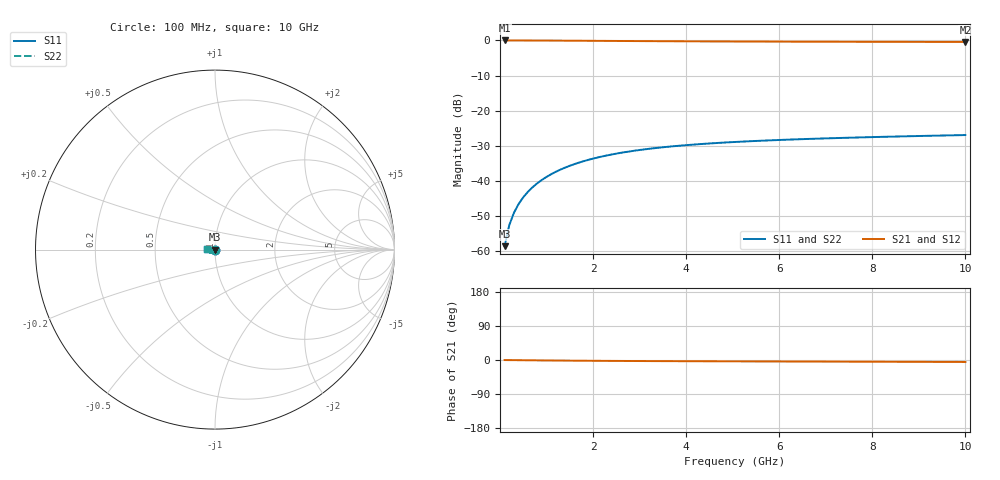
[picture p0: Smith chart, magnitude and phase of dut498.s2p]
! Touchstone file exported from HFSS 2024.1.0
!  File:  C:/UserFiles/LocalFiles/RDL_TSV_Batchsim/temp_TSV1_498_1779701155.aedt
!  Generated:  05:31:42 PM May 25, 2026
!  Design:  TSV1
!  Project:  temp_TSV1_498_1779701155
!  Setup:  Setup1
!  Solution:  Sweep
! Variables:
!  dtsv = 9.8um
!  hbump = 3um
!  htsv = 80.74um
!  lrdl = 252.1521522um
!  p = 40
!  p1 = 51.01um
!  t = 500um
!  trdl = 3um
!  wrdl = 24.89489489um
# GHz S MA R 50.000000
! Terminal data exported
! Port[1] = TSV22_T1
! Port[2] = TSV22_T2
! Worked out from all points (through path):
!   100 points, 100 MHz to 10 GHz, reference 50 ohm
!   highest |S21| = 0.00 dB at 100 MHz (marker M1); lowest = -0.4 dB at 10 GHz (marker M2)
!   lowest |S11| = -58.5 dB at 100 MHz (marker M3), VSWR 1.00, Z = 50 - j0.118 ohm
!   |S11| at or under -10 dB: start of sweep to end of sweep
!   |S22| runs from -58.5 to -26.9 dB; largest |S21 - S12| = 6e-15
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0.1  0.00119 -84.5  0.9998 -0.1  0.9998 -0.1  0.00119 -84.5
! Gamma 0 0 0 0
! Port Impedance 50 0 50 0
0.2  0.002366 -89.8  0.9997 -0.2  0.9997 -0.2  0.002366 -89.8
0.3  0.003545 -92.8  0.9995 -0.4  0.9995 -0.4  0.003545 -92.8
0.4  0.00472 -95.3  0.9992 -0.5  0.9992 -0.5  0.00472 -95.3
0.5  0.005886 -97.5  0.9988 -0.6  0.9988 -0.6  0.005886 -97.5
0.6  0.00704 -99.6  0.9984 -0.7  0.9984 -0.7  0.00704 -99.6
0.7  0.00818 -101.6  0.9979 -0.8  0.9979 -0.8  0.00818 -101.6
0.8  0.009302 -103.5  0.9974 -1.0  0.9974 -1.0  0.009301 -103.5
0.9  0.0104 -105.4  0.9968 -1.1  0.9968 -1.1  0.0104 -105.4
1.1  0.01254 -109.1  0.9955 -1.3  0.9955 -1.3  0.01254 -109.1
1.4  0.01557 -114.3  0.9932 -1.6  0.9932 -1.6  0.01557 -114.3
1.6  0.01746 -117.6  0.9915 -1.8  0.9915 -1.8  0.01746 -117.6
1.8  0.01923 -120.8  0.9898 -1.9  0.9898 -1.9  0.01923 -120.8
2.1  0.02169 -125.3  0.9871 -2.2  0.9871 -2.2  0.02169 -125.3
2.5  0.02461 -130.9  0.9835 -2.4  0.9835 -2.4  0.0246 -130.9
2.9  0.02713 -136.0  0.9801 -2.7  0.9801 -2.7  0.02713 -136.0
3.4  0.02981 -141.8  0.9762 -2.9  0.9762 -2.9  0.02981 -141.8
4.2  0.03324 -149.9  0.9708 -3.3  0.9708 -3.3  0.03324 -149.9
5.1  0.03617 -157.6  0.9659 -3.6  0.9659 -3.6  0.03617 -157.6
6.7  0.03995 -168.7  0.9598 -4.1  0.9598 -4.1  0.03995 -168.7
8.4  0.0429 -178.1  0.9555 -4.7  0.9555 -4.7  0.0429 -178.1
10  0.04521 174.4  0.9528 -5.2  0.9528 -5.2  0.04521 174.4
